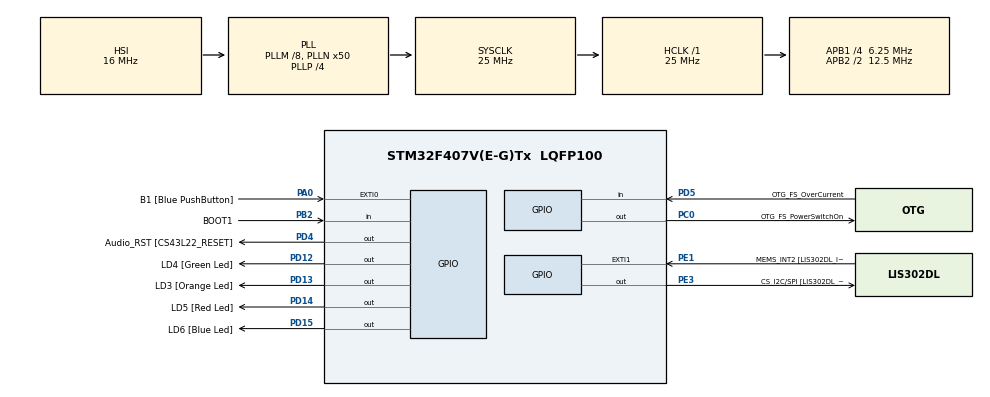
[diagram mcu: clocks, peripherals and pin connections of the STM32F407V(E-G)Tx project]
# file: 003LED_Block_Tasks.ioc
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Mcu.Family=STM32F4
Mcu.Name=STM32F407V(E-G)Tx
Mcu.Package=LQFP100
NVIC.PriorityGroup=NVIC_PRIORITYGROUP_4
NVIC.TIM6_DAC_IRQn=true\:0\:0\:false\:false\:true\:false\:true\:true
NVIC.TimeBase=TIM6_DAC_IRQn
NVIC.TimeBaseIP=TIM6
PA0-WKUP.GPIO_Label=B1 [Blue PushButton]
PA0-WKUP.Signal=GPXTI0
PA10.GPIO_Label=OTG_FS_ID
PA10.GPIO_Mode=GPIO_MODE_AF_PP
PA10.GPIO_PuPd=GPIO_NOPULL
PA10.GPIO_Speed=GPIO_SPEED_FREQ_LOW
PA10.Signal=USB_OTG_FS_ID
PA11.GPIO_Label=OTG_FS_DM
PA11.GPIO_Mode=GPIO_MODE_AF_PP
PA11.GPIO_PuPd=GPIO_NOPULL
PA11.GPIO_Speed=GPIO_SPEED_FREQ_LOW
PA11.Signal=USB_OTG_FS_DM
PA12.GPIO_Label=OTG_FS_DP
PA12.GPIO_Mode=GPIO_MODE_AF_PP
PA12.GPIO_PuPd=GPIO_NOPULL
PA12.GPIO_Speed=GPIO_SPEED_FREQ_LOW
PA12.Signal=USB_OTG_FS_DP
PA13.GPIO_Label=SWDIO
PA13.Signal=SYS_JTMS-SWDIO
PA14.GPIO_Label=SWCLK
PA14.Signal=SYS_JTCK-SWCLK
PA4.GPIO_Label=I2S3_WS [CS43L22_LRCK]
PA4.GPIO_Mode=GPIO_MODE_AF_PP
PA4.GPIO_PuPd=GPIO_NOPULL
PA4.GPIO_Speed=GPIO_SPEED_FREQ_LOW
PA4.Signal=I2S3_WS
PA5.GPIO_Label=SPI1_SCK [LIS302DL_SCL/SPC]
PA5.GPIO_Mode=GPIO_MODE_AF_PP
PA5.GPIO_PuPd=GPIO_NOPULL
PA5.GPIO_Speed=GPIO_SPEED_FREQ_LOW
PA5.Signal=SPI1_SCK
PA6.GPIO_Label=SPI1_MISO [LIS302DL_SDO]
PA6.GPIO_Mode=GPIO_MODE_AF_PP
PA6.GPIO_PuPd=GPIO_NOPULL
PA6.GPIO_Speed=GPIO_SPEED_FREQ_LOW
PA6.Signal=SPI1_MISO
PA7.GPIO_Label=SPI1_MOSI [LIS302DL_SDA/SDI/SDO]
PA7.GPIO_Mode=GPIO_MODE_AF_PP
PA7.GPIO_PuPd=GPIO_NOPULL
PA7.GPIO_Speed=GPIO_SPEED_FREQ_LOW
PA7.Signal=SPI1_MOSI
PA9.GPIO_Label=VBUS_FS
PA9.GPIO_Mode=GPIO_MODE_INPUT
PA9.GPIO_PuPd=GPIO_NOPULL
PA9.Signal=USB_OTG_FS_VBUS
PB10.GPIO_Label=CLK_IN [MP45DT02_CLK]
PB10.GPIO_Mode=GPIO_MODE_AF_PP
PB10.GPIO_PuPd=GPIO_NOPULL
PB10.GPIO_Speed=GPIO_SPEED_FREQ_LOW
PB10.Signal=I2S2_CK
PB2.GPIO_Label=BOOT1
PB2.GPIO_Mode=GPIO_MODE_INPUT
PB2.GPIO_PuPd=GPIO_NOPULL
PB2.Signal=GPIO_Input
PB3.GPIO_Label=SWO
PB3.Signal=SYS_JTDO-SWO
PB6.GPIO_Label=Audio_SCL [CS43L22_SCL]
PB6.GPIO_Mode=GPIO_MODE_AF_OD
PB6.GPIO_PuPd=GPIO_NOPULL
PB6.GPIO_Speed=GPIO_SPEED_FREQ_LOW
PB6.Signal=I2C1_SCL
PB9.GPIO_Label=Audio_SDA [CS43L22_SDA]
PB9.GPIO_Mode=GPIO_MODE_AF_OD
PB9.GPIO_PuPd=GPIO_NOPULL
PB9.GPIO_Speed=GPIO_SPEED_FREQ_LOW
PB9.Signal=I2C1_SDA
PC0.GPIO_Label=OTG_FS_PowerSwitchOn
PC0.GPIO_PuPd=GPIO_NOPULL
PC0.GPIO_Speed=GPIO_SPEED_FREQ_LOW
PC0.PinState=GPIO_PIN_SET
PC0.Signal=GPIO_Output
PC10.GPIO_Label=I2S3_SCK [CS43L22_SCLK]
PC10.GPIO_Mode=GPIO_MODE_AF_PP
PC10.GPIO_PuPd=GPIO_NOPULL
PC10.GPIO_Speed=GPIO_SPEED_FREQ_LOW
PC10.Signal=I2S3_CK
PC12.GPIO_Label=I2S3_SD [CS43L22_SDIN]
PC12.GPIO_Mode=GPIO_MODE_AF_PP
PC12.GPIO_PuPd=GPIO_NOPULL
PC12.GPIO_Speed=GPIO_SPEED_FREQ_LOW
PC12.Signal=I2S3_SD
PC14-OSC32_IN.GPIO_Label=PC14-OSC32_IN
PC14-OSC32_IN.Signal=RCC_OSC32_IN
PC15-OSC32_OUT.GPIO_Label=PC15-OSC32_OUT
PC15-OSC32_OUT.Signal=RCC_OSC32_OUT
PC3.GPIO_Label=PDM_OUT [MP45DT02_DOUT]
PC3.GPIO_Mode=GPIO_MODE_AF_PP
PC3.GPIO_PuPd=GPIO_NOPULL
PC3.GPIO_Speed=GPIO_SPEED_FREQ_LOW
PC3.Signal=I2S2_SD
PC7.GPIO_Label=I2S3_MCK [CS43L22_MCLK]
PC7.GPIO_Mode=GPIO_MODE_AF_PP
PC7.GPIO_PuPd=GPIO_NOPULL
PC7.GPIO_Speed=GPIO_SPEED_FREQ_LOW
PC7.Signal=I2S3_MCK
PD12.GPIO_Label=LD4 [Green Led]
PD12.GPIO_PuPd=GPIO_NOPULL
PD12.GPIO_Speed=GPIO_SPEED_FREQ_LOW
PD12.Signal=GPIO_Output
PD13.GPIO_Label=LD3 [Orange Led]
PD13.GPIO_PuPd=GPIO_NOPULL
PD13.GPIO_Speed=GPIO_SPEED_FREQ_LOW
PD13.Signal=GPIO_Output
PD14.GPIO_Label=LD5 [Red Led]
PD14.GPIO_PuPd=GPIO_NOPULL
PD14.GPIO_Speed=GPIO_SPEED_FREQ_LOW
PD14.Signal=GPIO_Output
PD15.GPIO_Label=LD6 [Blue Led]
PD15.GPIO_PuPd=GPIO_NOPULL
PD15.GPIO_Speed=GPIO_SPEED_FREQ_LOW
PD15.Signal=GPIO_Output
PD4.GPIO_Label=Audio_RST [CS43L22_RESET]
PD4.GPIO_PuPd=GPIO_NOPULL
PD4.GPIO_Speed=GPIO_SPEED_FREQ_LOW
PD4.Signal=GPIO_Output
PD5.GPIO_Label=OTG_FS_OverCurrent
PD5.GPIO_Mode=GPIO_MODE_INPUT
PD5.GPIO_PuPd=GPIO_NOPULL
PD5.Signal=GPIO_Input
PE1.GPIO_Label=MEMS_INT2 [LIS302DL_INT2]
PE1.GPIO_ModeDefaultEXTI=GPIO_MODE_EVT_RISING
PE1.GPIO_PuPd=GPIO_NOPULL
PE1.Signal=GPXTI1
PE3.GPIO_Label=CS_I2C/SPI [LIS302DL_CS_I2C/SPI]
PE3.GPIO_PuPd=GPIO_NOPULL
PE3.GPIO_Speed=GPIO_SPEED_FREQ_LOW
PE3.Signal=GPIO_Output
PH0-OSC_IN.GPIO_Label=PH0-OSC_IN
PH0-OSC_IN.Signal=RCC_OSC_IN
PH1-OSC_OUT.GPIO_Label=PH1-OSC_OUT
PH1-OSC_OUT.Signal=RCC_OSC_OUT
ProjectManager.HeapSize=0x200
ProjectManager.StackSize=0x400
ProjectManager.TargetToolchain=STM32CubeIDE
RCC.48MHZClocksFreq_Value=14285714.285714285
RCC.AHBFreq_Value=25000000
RCC.APB1CLKDivider=RCC_HCLK_DIV4
RCC.APB1Freq_Value=6250000
RCC.APB1TimFreq_Value=12500000
RCC.APB2CLKDivider=RCC_HCLK_DIV2
RCC.APB2Freq_Value=12500000
RCC.APB2TimFreq_Value=25000000
RCC.CortexFreq_Value=25000000
RCC.HCLKFreq_Value=25000000
RCC.HSE_VALUE=8000000
RCC.HSI_VALUE=16000000
RCC.LSE_VALUE=32768
RCC.PLLM=8
RCC.PLLN=50
RCC.PLLP=RCC_PLLP_DIV4
RCC.PLLQ=7
RCC.SYSCLKFreq_VALUE=25000000
RCC.SYSCLKSource=RCC_SYSCLKSOURCE_PLLCLK
RCC.VCOOutputFreq_Value=100000000
VP_SYS_VS_tim6.Mode=TIM6
board=STM32F407G-DISC1

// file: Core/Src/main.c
/* USER CODE BEGIN Header */
/**
  ******************************************************************************
  * @file           : main.c
  * @brief          : Main program body
  ******************************************************************************
  * @attention
  *
  * Copyright (c) 2024 STMicroelectronics.
  * All rights reserved.
  *
  * This software is licensed under terms that can be found in the LICENSE file
  * in the root directory of this software component.
  * If no LICENSE file comes with this software, it is provided AS-IS.
  *
  ******************************************************************************
  */
/* USER CODE END Header */
#include "main.h"

/* USER CODE BEGIN Includes */
#include <stdio.h>
#include "FreeRTOS.h"
#include "task.h"
/* USER CODE END Includes */

/* USER CODE BEGIN PV */

#define DWT_CTRL	(*(volatile uint32_t*)0xE0001000)

/* USER CODE END PV */

void SystemClock_Config(void);
static void MX_GPIO_Init(void);
/* USER CODE BEGIN PFP */
static void led_green_handler(void *parameters);
static void led_red_handler(void *parameters);
static void led_orange_handler(void *parameters);
/* USER CODE END PFP */

int main(void)
{
  /* USER CODE BEGIN 1 */

	TaskHandle_t task1_handle;
	TaskHandle_t task2_handle;
	TaskHandle_t task3_handle;

	BaseType_t status;
  /* USER CODE END 1 */

  /* MCU Configuration--------------------------------------------------------*/

  /* Reset of all peripherals, Initializes the Flash interface and the Systick. */
  HAL_Init();

  /* Configure the system clock */
  SystemClock_Config();

  /* Initialize all configured peripherals */
  MX_GPIO_Init();
  /* USER CODE BEGIN 2 */

  DWT_CTRL |= (1<<0);

  status = xTaskCreate(led_green_handler, "LED_green_task",200, NULL,2,&task1_handle);

  configASSERT(status = pdPASS);

  status = xTaskCreate(led_red_handler, "LED_red_task",200, NULL,2,&task2_handle);

  configASSERT(status = pdPASS);

  status = xTaskCreate(led_orange_handler, "LED_orange_task",200, NULL,2,&task3_handle);

  configASSERT(status = pdPASS);

  // start the freeRTOS scheduler

  vTaskStartScheduler();

  /* USER CODE END 2 */

  /* Infinite loop */
  while (1)
  {

  }
}

void SystemClock_Config(void)
{
  RCC_OscInitTypeDef RCC_OscInitStruct = {0};
  RCC_ClkInitTypeDef RCC_ClkInitStruct = {0};

  /** Configure the main internal regulator output voltage
  */
  __HAL_RCC_PWR_CLK_ENABLE();
  __HAL_PWR_VOLTAGESCALING_CONFIG(PWR_REGULATOR_VOLTAGE_SCALE1);

  /** Initializes the RCC Oscillators according to the specified parameters
  * in the RCC_OscInitTypeDef structure.
  */
  RCC_OscInitStruct.OscillatorType = RCC_OSCILLATORTYPE_HSI;
  RCC_OscInitStruct.HSIState = RCC_HSI_ON;
  RCC_OscInitStruct.HSICalibrationValue = RCC_HSICALIBRATION_DEFAULT;
  RCC_OscInitStruct.PLL.PLLState = RCC_PLL_ON;
  RCC_OscInitStruct.PLL.PLLSource = RCC_PLLSOURCE_HSI;
  RCC_OscInitStruct.PLL.PLLM = 8;
  RCC_OscInitStruct.PLL.PLLN = 50;
  RCC_OscInitStruct.PLL.PLLP = RCC_PLLP_DIV4;
  RCC_OscInitStruct.PLL.PLLQ = 7;
  if (HAL_RCC_OscConfig(&RCC_OscInitStruct) != HAL_OK)
  {
    Error_Handler();
  }

  /** Initializes the CPU, AHB and APB buses clocks
  */
  RCC_ClkInitStruct.ClockType = RCC_CLOCKTYPE_HCLK|RCC_CLOCKTYPE_SYSCLK
                              |RCC_CLOCKTYPE_PCLK1|RCC_CLOCKTYPE_PCLK2;
  RCC_ClkInitStruct.SYSCLKSource = RCC_SYSCLKSOURCE_PLLCLK;
  RCC_ClkInitStruct.AHBCLKDivider = RCC_SYSCLK_DIV1;
  RCC_ClkInitStruct.APB1CLKDivider = RCC_HCLK_DIV4;
  RCC_ClkInitStruct.APB2CLKDivider = RCC_HCLK_DIV2;

  if (HAL_RCC_ClockConfig(&RCC_ClkInitStruct, FLASH_LATENCY_0) != HAL_OK)
  {
    Error_Handler();
  }
}

static void MX_GPIO_Init(void)
{
  GPIO_InitTypeDef GPIO_InitStruct = {0};

  /* GPIO Ports Clock Enable */
  __HAL_RCC_GPIOD_CLK_ENABLE();

  /*Configure GPIO pin Output Level */
  HAL_GPIO_WritePin(GPIOD, LD4_Pin|LD3_Pin|LD5_Pin|LD6_Pin, GPIO_PIN_RESET);

  /*Configure GPIO pins : LD4_Pin LD3_Pin LD5_Pin LD6_Pin */
  GPIO_InitStruct.Pin = LD4_Pin|LD3_Pin|LD5_Pin|LD6_Pin;
  GPIO_InitStruct.Mode = GPIO_MODE_OUTPUT_PP;
  GPIO_InitStruct.Pull = GPIO_NOPULL;
  GPIO_InitStruct.Speed = GPIO_SPEED_FREQ_LOW;
  HAL_GPIO_Init(GPIOD, &GPIO_InitStruct);

}

/* USER CODE BEGIN 4 */

static void led_green_handler(void *parameters)
{
	while(1)
	{
		HAL_GPIO_TogglePin(GPIOD,LD4_Pin );
		vTaskDelay(pdMS_TO_TICKS(1000));

	}

}

static void led_orange_handler(void *parameters)
{
	while(1)
	{
		HAL_GPIO_TogglePin(GPIOD,LD3_Pin );
		vTaskDelay(pdMS_TO_TICKS(800));

	}

}

static void led_red_handler(void *parameters)
{
	while(1)
	{
		HAL_GPIO_TogglePin(GPIOD,LD5_Pin );
		vTaskDelay(pdMS_TO_TICKS(400));

	}

}

/* USER CODE END 4 */

void HAL_TIM_PeriodElapsedCallback(TIM_HandleTypeDef *htim)
{
  if (htim->Instance == TIM6) {
    HAL_IncTick();
  }
}

void Error_Handler(void)
{
  __disable_irq();
  while (1)
  {
  }
}
